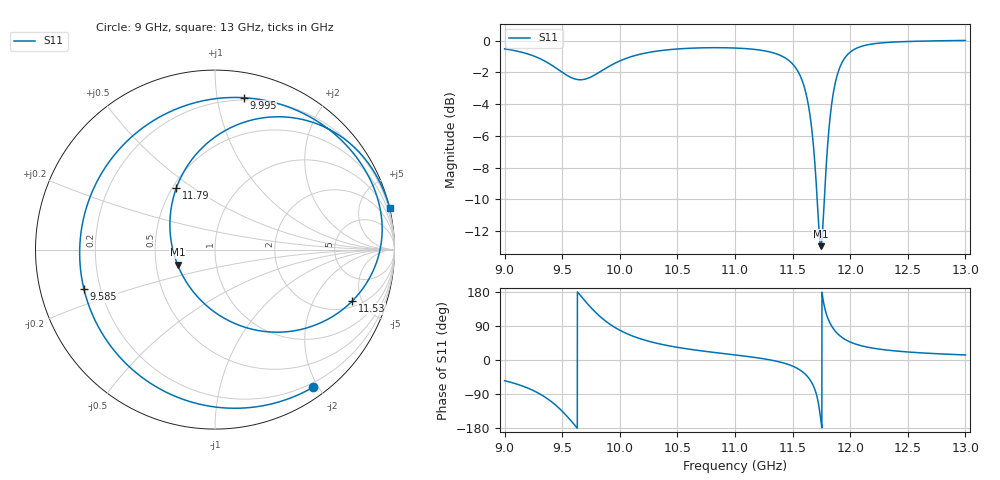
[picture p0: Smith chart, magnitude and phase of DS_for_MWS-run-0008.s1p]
! TOUCHSTONE file generated by CST DESIGN STUDIO
! Date and time: Tue Feb  4 17:51:58 2025
! Project name: C:\Work\MatlabApps\UnitCellOptimizationMatlab\CST\unitcell.cst
! Tree item: Tasks\Sweep1\SPara1\S-Parameters
! Header version: 2024
! Port assignment regex: !\s*Touchstone port\s*([0-9]+)\s*=\s*(CST MWS port|CST DES external port|CST DES block port)\s*(.+)\s* \(\"(.*)\"\)(\s*mode\s*([0-9]+))?.*
! Touchstone port assignment:
! Touchstone port 1 = CST DES external port 1 ("")
# GHz S MA R 50
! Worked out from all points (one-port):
!   4001 points, 9 GHz to 13 GHz, reference 50 ohm
!   lowest |S11| = -13.0 dB at 11.74 GHz (marker M1), VSWR 1.58, Z = 32.3 - j5.7 ohm
!   |S11| at or under -10 dB: 11.71 GHz to 11.78 GHz (62.11 MHz wide, 0.529 % of centre)
!   S11 on the Smith chart (normalised r, x): 9 GHz: 0.14, -1.93; 9.585 GHz: 0.14, -0.14; 9.995 GHz: 0.18, +1.19; 11.53 GHz: 2.43, -4.17; 11.79 GHz: 0.52, +0.43; 13 GHz: -0.04, +8.59
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9  0.9417 -54.6
9.164  0.916 -69.7
9.316  0.8741 -91.4
9.413  0.8348 -111.6
9.5  0.7946 -135.2
9.585  0.7626 -163.3
9.681  0.7537 161.9
9.794  0.7837 124.5
9.886  0.8211 100.5
9.995  0.8612 79.4
10  0.8628 78.5
10.216  0.9126 52.5
10.5  0.941 33.4
11  0.9474 13.4
11.323  0.917 -0.8
11.5  0.8439 -16.1
11.531  0.8167 -20.5
11.604  0.7086 -35.7
11.667  0.5237 -60.1
11.706  0.3501 -89.9
11.745  0.225 -158.2
11.792  0.404 122.3
11.83  0.5931 94.4
11.871  0.7372 75.9
12  0.9196 47.4
12.179  0.9741 32.2
12.5  0.9935 21.2
13  1.001 13.3
